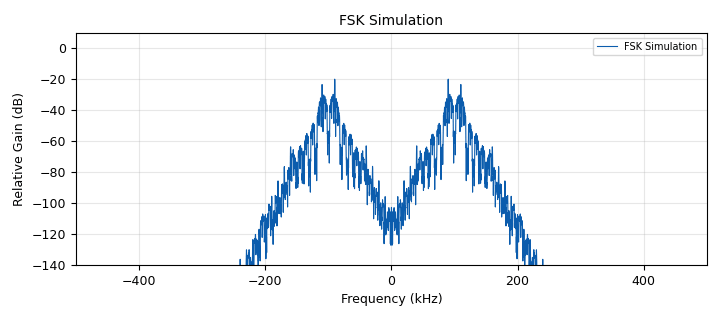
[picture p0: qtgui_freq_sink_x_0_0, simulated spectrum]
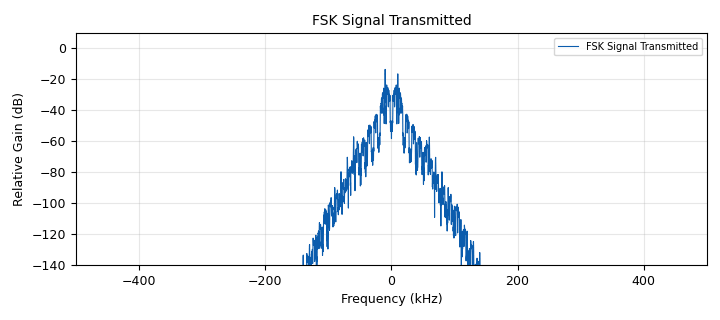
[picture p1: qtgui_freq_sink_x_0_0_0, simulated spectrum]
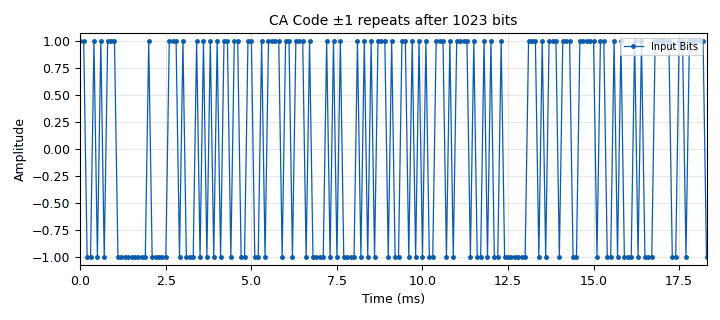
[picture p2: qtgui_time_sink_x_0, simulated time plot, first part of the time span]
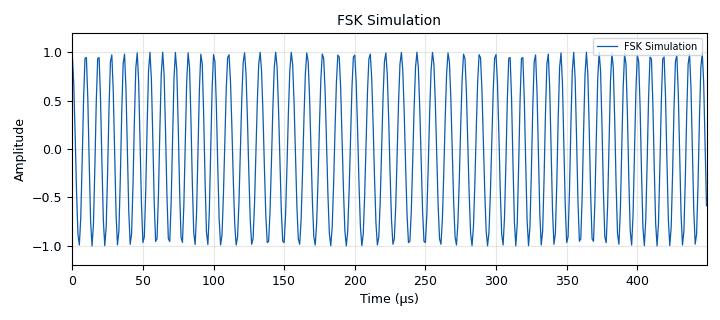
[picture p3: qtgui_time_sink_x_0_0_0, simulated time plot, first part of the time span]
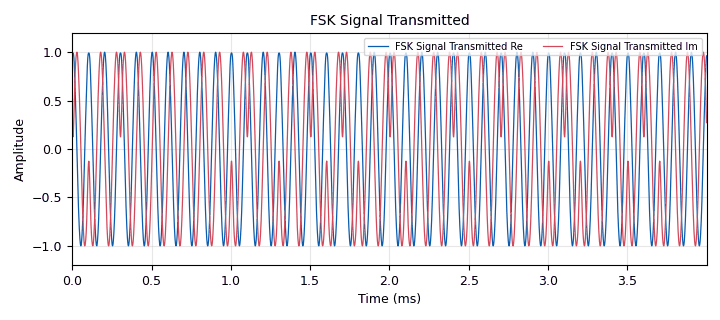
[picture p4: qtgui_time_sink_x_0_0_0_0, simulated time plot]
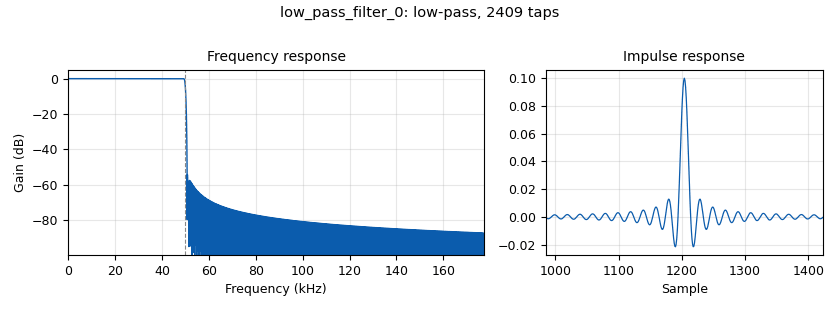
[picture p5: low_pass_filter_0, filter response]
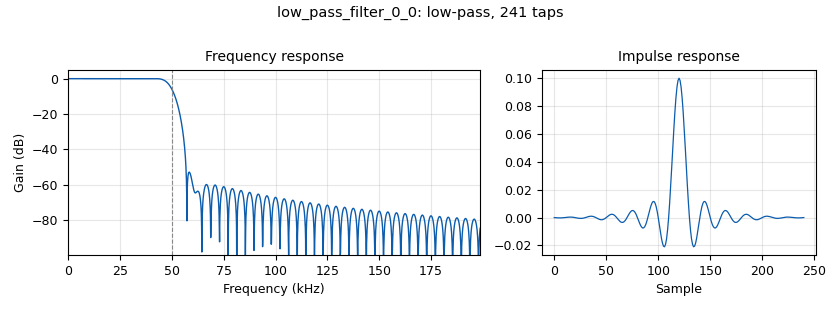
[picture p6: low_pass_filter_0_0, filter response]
options:
  parameters:
    author: jason, allie
    generate_options: qt_gui
    id: lesson12_FSKhardware
    output_language: python
    title: lesson12_FSKhardware
  states: {}

blocks:
- name: cacode01
  id: variable
  parameters:
    value: '[1, 1, 0, 0, 1, 0, 0, 0, 0, 0, 1, 1, 1, 0, 0, 1, 0, 1, 0, 0, 1, 0, 0, 1, 1, 1, 1, 0, 0, 1, 0, 1, 0, 0, 0, 1, 0, 0, 1, 1, 1, 1, 1, 0, 1, 0, 1, 0, 1, 1, 0, 1, 0, 0, 0, 1, 0, 0, 0, 1, 0, 1, 0, 1, 0, 1, 0, 1, 1, 0, 0, 1, 0, 0, 0, 1, 1, 1, 1, 0, 1, 0, 0, 1, 1, 1, 1, 1, 1, 0, 1, 1, 0, 1, 1, 1, 0, 0, 1, 1, 0, 1, 1, 1, 1, 1, 0, 0, 1, 0, 1, 0, 1, 0, 1, 0, 0, 0, 0, 1, 0, 0, 0, 0, 0, 0, 0, 0, 1, 1, 1, 0, 1, 0, 1, 0, 0, 1, 0, 0, 0, 1, 0, 0, 1, 1, 0, 1, 1, 1, 1, 0, 0, 0, 0, 0, 1, 1, 1, 1, 0, 1, 0, 1, 1, 1, 0, 0, 1, 1, 0, 0, 1, 1, 1, 1, 0, 1, 1, 0, 0, 0, 0, 0, 0, 0, 1, 0, 1, 1, 1, 1, 0, 0, 1, 1, 1, 1, 1, 0, 1, 0, 1, 0, 0, 1, 1, 0, 0, 0, 1, 0, 1, 1, 0, 1, 1, 1, 0, 0, 0, 1, 1, 0, 1, 1, 1, 1, 0, 1, 0, 1, 0, 0, 0, 1, 0, 1, 0, 1, 1, 0, 0, 0, 0, 0, 1, 0, 0, 0, 0, 0, 0, 0, 0, 1, 0, 0, 0, 0, 0, 0, 1, 1, 0, 0, 0, 1, 1, 1, 0, 1, 1, 0, 0, 0, 0, 0, 0, 1, 1, 1, 0, 0, 0, 1, 1, 0, 1, 1, 1, 1, 1, 1, 1, 1, 1, 0, 1, 0, 0, 1, 1, 1, 0, 1, 0, 0, 1, 0, 1, 1, 0, 1, 1, 0, 0, 0, 0, 1, 0, 1, 0, 1, 0, 1, 1, 0, 0, 0, 1, 0, 0, 1, 1, 1, 0, 0, 1, 0, 1, 1, 0, 1, 1, 1, 0, 1, 1, 0, 0, 0, 1, 1, 1, 0, 1, 1, 1, 0, 1, 1, 1, 1, 0, 0, 0, 0, 1, 1, 0, 1, 1, 0, 0, 0, 0, 1, 1, 0, 0, 1, 0, 0, 1, 0, 0, 1, 0, 0, 0, 0, 0, 1, 1, 0, 1, 1, 0, 1, 0, 0, 1, 0, 1, 1, 0, 1, 1, 1, 1, 0, 0, 0, 1, 0, 1, 1, 1, 0, 0, 0, 0, 0, 0, 1, 0, 1, 0, 0, 1, 0, 0, 1, 1, 1, 1, 1, 1, 0, 0, 0, 0, 0, 1, 0, 1, 0, 1, 0, 1, 1, 1, 0, 0, 1, 1, 1, 1, 1, 0, 1, 0, 1, 1, 1, 1, 1, 0, 0, 1, 1, 0, 0, 1, 1, 0, 0, 0, 1, 1, 1, 0, 0, 0, 1, 1, 0, 1, 1, 0, 1, 0, 1, 0, 1, 0, 1, 1, 0, 1, 1, 0, 0, 0, 1, 1, 0, 1, 1, 1, 0, 1, 1, 1, 0, 0, 0, 0, 0, 0, 0, 0, 0, 0, 0, 1, 0, 1, 1, 0, 0, 1, 1, 0, 1, 1, 0, 0, 1, 1, 1, 0, 1, 1, 0, 1, 0, 0, 0, 0, 0, 1, 0, 1, 0, 1, 0, 1, 1, 1, 0, 1, 0, 1, 1, 1, 0, 1, 0, 0, 1, 0, 1, 0, 0, 0, 1, 1, 1, 0, 0, 1, 1, 1, 0, 0, 0, 1, 0, 0, 1, 0, 1, 0, 0, 0, 1, 0, 1, 0, 0, 1, 0, 1, 1, 0, 1, 0, 0, 0, 0, 1, 0, 1, 0, 1, 1, 0, 1, 1, 0, 1, 0, 1, 1, 0, 1, 1, 0, 0, 0, 1, 1, 1, 0, 0, 1, 1, 1, 1, 0, 1, 1, 0, 0, 1, 0, 0, 0, 0, 1, 1, 1, 1, 1, 1, 0, 0, 1, 0, 1, 1, 0, 1, 0, 0, 0, 1, 0, 0, 0, 0, 1, 1, 1, 1, 1, 0, 1, 0, 1, 0, 1, 1, 1, 0, 0, 1, 1, 0, 0, 1, 0, 0, 1, 0, 0, 1, 0, 0, 1, 0, 1, 1, 1, 1, 1, 1, 1, 1, 1, 1, 0, 0, 0, 0, 1, 1, 1, 1, 1, 0, 1, 1, 1, 1, 0, 0, 0, 1, 1, 0, 1, 1, 1, 0, 0, 1, 0, 1, 1, 0, 0, 0, 0, 1, 1, 1, 0, 0, 1, 0, 1, 0, 1, 0, 0, 0, 0, 1, 0, 1, 0, 0, 1, 0, 1, 0, 1, 1, 1, 1, 1, 1, 0, 0, 0, 1, 1, 1, 1, 0, 1, 1, 0, 1, 0, 0, 1, 1, 1, 0, 1, 1, 0, 0, 1, 1, 1, 1, 1, 1, 0, 1, 1, 1, 1, 1, 0, 1, 0, 0, 0, 1, 1, 0, 0, 0, 1, 1, 1, 1, 1, 0, 0, 0, 0, 0, 0, 0, 1, 0, 0, 1, 0, 1, 0, 0, 0, 1, 0, 1, 1, 0, 1, 0, 0, 0, 1, 0, 0, 0, 1, 0, 0, 1, 1, 0, 1, 1, 0, 0, 0, 0, 0, 0, 1, 1, 1, 0, 1, 1, 0, 1, 0, 0, 0, 1, 1, 0, 1, 0, 0, 0, 1, 0, 0, 1, 0, 0, 0, 1, 1, 1, 0, 0, 0, 1, 0, 1, 1, 0, 0, 1, 1, 0, 0, 1, 0, 0, 1, 1, 1, 1, 0, 0, 1, 1, 0, 1, 1, 1, 1, 1, 1, 0, 0, 1, 1, 0, 0, 1, 0, 1, 0, 0, 1, 1, 0, 1, 0, 0, 1, 1, 0, 1, 0, 1, 1, 1, 1, 0, 0, 1, 1, 0, 1, 1, 0, 1, 0, 1, 0, 0, 1, 1, 1, 0, 1, 1, 1, 1, 0, 0, 0, 1, 1, 0, 1, 0, 1, 0, 0, 0, 1, 0, 0, 0, 0, 1, 0, 0, 0, 1, 0, 0, 1, 0, 0, 1, 1, 1, 0, 0, 0, 0, 1, 1, 1, 0, 0, 1, 0, 1, 0, 0, 0, 1, 0, 0, 0, 0]'
  states: {}
- name: default_LO_freq
  id: variable
  parameters:
    value: 916e6
  states: {}
- name: fsk_deviation_hz
  id: variable_qtgui_range
  parameters:
    gui_hint: 4,0
    orient: Qt.Horizontal
    start: '0'
    step: '1'
    stop: 10e4
    value: 10e3
  states: {}
- name: input_bits_LPF_cutoff_kHz
  id: variable_qtgui_range
  parameters:
    gui_hint: (1,0)
    orient: Qt.Horizontal
    start: '0'
    step: '1'
    stop: '100'
    value: '50'
  states: {}
- name: plot_N_bits
  id: variable
  parameters:
    value: '40'
  states: {}
- name: pluto_LO_freq
  id: variable_qtgui_range
  parameters:
    gui_hint: 6,0
    orient: Qt.Horizontal
    start: default_LO_freq-1e6
    step: 1e4
    stop: default_LO_freq+1e6
    value: default_LO_freq
  states: {}
- name: rtl_LO_freq
  id: variable_qtgui_range
  parameters:
    gui_hint: 11,0
    orient: Qt.Horizontal
    start: default_LO_freq-1e6
    step: 1e4
    stop: default_LO_freq+1e6
    value: default_LO_freq
  states: {}
- name: samp_rate
  id: variable
  parameters:
    value: 1e6
  states: {}
- name: samples_per_bit
  id: variable
  parameters:
    value: '100'
  states: {}
- name: transmit_center_freq_kHz
  id: variable_qtgui_range
  parameters:
    gui_hint: 5,0
    orient: Qt.Horizontal
    start: '0'
    step: '.1'
    stop: '200'
    value: '100'
  states: {}
- name: tuning_LPF_cutoff_kHz
  id: variable_qtgui_range
  parameters:
    gui_hint: 13,0
    orient: Qt.Horizontal
    start: '0'
    step: '1'
    stop: '200'
    value: '50'
  states: {}
- name: tuning_freq_kHz
  id: variable_qtgui_range
  parameters:
    gui_hint: 12,0
    orient: Qt.Horizontal
    start: '-20'
    step: '.01'
    stop: '20'
    value: '0'
  states: {}
- name: analog_quadrature_demod_cf_0
  id: analog_quadrature_demod_cf
  parameters:
    comment: |-
      = samp_rate/(2*math.pi*fsk_deviation_hz)
      estimate instantaneous frequency,
      initially in rad/sample, so the "gain"
      first multiplies by samples/sec
      then divides by 2*pi to get it in Hz,
      then by fsk_deviation_hz
      to get it to match ±1 input
    gain: samp_rate/(2*math.pi*fsk_deviation_hz)
  states: {}
- name: analog_random_uniform_source_x_0
  id: analog_random_uniform_source_x
  parameters:
    comment: |-
      random source
      that does not repeat.
      A repeating source
      can put strange features
      in the spectrum.
    maximum: '2'
    minimum: '0'
    seed: '0'
    type: byte
  states: {}
- name: analog_sig_source_x_0
  id: analog_sig_source_x
  parameters:
    amp: '1'
    comment: tuning_freq_kHz*1e3
    freq: tuning_freq_kHz*1e3
    offset: '0'
    phase: '0'
    samp_rate: samp_rate
    type: complex
    waveform: analog.GR_COS_WAVE
  states: {}
- name: blocks_add_const_vxx_0_0
  id: blocks_add_const_vxx
  parameters:
    comment: |-
      Transmit center frequency
      will be 100kHz, so these samples
      are each around 90k or 110k.
    const: transmit_center_freq_kHz*1000
    type: float
  states: {}
- name: blocks_char_to_float_0
  id: blocks_char_to_float
  parameters:
    scale: '1'
  states: {}
- name: blocks_multiply_const_vxx_0_0
  id: blocks_multiply_const_vxx
  parameters:
    comment: |-
      -1 will be -10kHz (below)
      +1 will be +10kHz (above)
    const: fsk_deviation_hz
    type: float
  states: {}
- name: blocks_multiply_xx_0
  id: blocks_multiply_xx
  parameters:
    type: complex
  states: {}
- name: blocks_repeat_0
  id: blocks_repeat
  parameters:
    comment: |-
      pseudorandom square wave
      bits at 10kHz, sampled at 1MHz
    interp: samples_per_bit
    type: float
  states: {}
- name: blocks_uchar_to_float_0
  id: blocks_uchar_to_float
  parameters: {}
  states: {}
- name: blocks_vco_c_0
  id: blocks_vco_c
  parameters:
    amplitude: '1'
    comment: |-
      Here we put the scaling
      to rad/sec here in the sensitivity as
      2*math.pi*fsk_deviation_hz
    samp_rate: samp_rate
    sensitivity: 2*math.pi*fsk_deviation_hz
  states: {}
- name: blocks_vco_f_0
  id: blocks_vco_f
  parameters:
    amplitude: '1'
    comment: |-
      Turn frequency in into
      sine at that frequency.
      The sensitivity of VCO
      is in radians/sec, so 2pi
      here means that
      -1 becomes 90kHz
      +1 becomes 110kHz
    samp_rate: samp_rate
    sensitivity: 2*math.pi
  states: {}
- name: blocks_vector_source_x_0
  id: blocks_vector_source_x
  parameters:
    comment: |-
      pseudorandom bits
      at 10kHz
    repeat: 'True'
    type: byte
    vector: cacode01
  states: {state: disabled}
- name: digital_binary_slicer_fb_0
  id: digital_binary_slicer_fb
  parameters: {}
  states: {}
- name: digital_map_bb_0
  id: digital_map_bb
  parameters:
    map: '[+1,-1]'
  states: {}
- name: iio_pluto_sink_0
  id: iio_pluto_sink
  parameters:
    attenuation1: '10.0'
    auto_filter: 'True'
    bandwidth: int(samp_rate)
    buffer_size: '32768'
    cyclic: 'False'
    frequency: int(pluto_LO_freq)
    samplerate: int(samp_rate)
    uri: 192.168.2.1
  states: {}
- name: low_pass_filter_0
  id: low_pass_filter
  parameters:
    comment: |-
      input_bits_LPF_cutoff_kHz*1000
      smooth out square wave
      makes FSK signal take up
      less bandwidth
    cutoff_freq: input_bits_LPF_cutoff_kHz*1000
    decim: '1'
    gain: '1'
    interp: '100'
    samp_rate: samp_rate
    type: fir_filter_fff
    width: samp_rate/1000
    win: firdes.WIN_HAMMING
  states: {}
- name: low_pass_filter_0_0
  id: low_pass_filter
  parameters:
    comment: |-
      filter to only pass
      information around 0Hz
    cutoff_freq: tuning_LPF_cutoff_kHz*1000
    decim: '1'
    gain: '1'
    interp: '100'
    samp_rate: samp_rate
    type: fir_filter_ccf
    width: samp_rate/100
    win: firdes.WIN_HAMMING
  states: {}
- name: qtgui_freq_sink_x_0
  id: qtgui_freq_sink_x
  parameters:
    average: '0.2'
    bw: samp_rate
    fc: '0'
    fftsize: 2**12
    gui_hint: 15,0
    label1: '"low passed rtl-sdr"'
    name: '"low passed rtl-sdr"'
    type: complex
    wintype: firdes.WIN_BLACKMAN_hARRIS
  states: {}
- name: qtgui_freq_sink_x_0_0
  id: qtgui_freq_sink_x
  parameters:
    bw: samp_rate
    fc: '0'
    fftsize: 2**12
    gui_hint: 8,0
    label1: '"FSK Simulation"'
    name: '"FSK Simulation"'
    type: float
    wintype: firdes.WIN_BLACKMAN_hARRIS
  states: {}
- name: qtgui_freq_sink_x_0_0_0
  id: qtgui_freq_sink_x
  parameters:
    bw: samp_rate
    fc: '0'
    fftsize: 2**12
    gui_hint: 10,0
    label1: '"FSK Signal Transmitted"'
    name: '"FSK Signal Transmitted"'
    type: complex
    wintype: firdes.WIN_BLACKMAN_hARRIS
  states: {}
- name: qtgui_freq_sink_x_1
  id: qtgui_freq_sink_x
  parameters:
    bw: samp_rate
    fc: '0'
    fftsize: 2**12
    gui_hint: 3,0
    label1: '"Stretched and LPF Input Bits"'
    name: '"Stretched and LPF Input Bits"'
    type: float
    wintype: firdes.WIN_BLACKMAN_hARRIS
  states: {state: disabled}
- name: qtgui_freq_sink_x_2
  id: qtgui_freq_sink_x
  parameters:
    bw: samp_rate
    fc: '0'
    fftsize: '1024'
    type: complex
    wintype: firdes.WIN_BLACKMAN_hARRIS
  states: {state: disabled}
- name: qtgui_sink_x_0
  id: qtgui_sink_x
  parameters:
    bw: samp_rate
    fc: '0'
    fftsize: '1024'
    gui_hint: 14,0
    name: '"Received raw"'
    type: complex
    wintype: firdes.WIN_BLACKMAN_hARRIS
  states: {state: disabled}
- name: qtgui_sink_x_1
  id: qtgui_sink_x
  parameters:
    bw: samp_rate
    fc: '0'
    fftsize: '1024'
    gui_hint: 17,0
    name: '"low passed and demodded rtl-sdr"'
    type: float
    wintype: firdes.WIN_BLACKMAN_hARRIS
  states: {state: disabled}
- name: qtgui_time_sink_x_0
  id: qtgui_time_sink_x
  parameters:
    gui_hint: (0,0)
    label1: Input Bits
    marker1: '0'
    name: '"CA Code ±1 repeats after 1023 bits"'
    size: '1023'
    srate: samp_rate/samples_per_bit
    type: float
  states: {}
- name: qtgui_time_sink_x_0_0
  id: qtgui_time_sink_x
  parameters:
    gui_hint: (2,0)
    label1: Stretched and LPF Input Bits
    name: '"Stretched and LPF Input Bits"'
    size: samples_per_bit*plot_N_bits
    srate: samp_rate
    type: float
    ymax: '1.2'
    ymin: '-1.2'
  states: {state: disabled}
- name: qtgui_time_sink_x_0_0_0
  id: qtgui_time_sink_x
  parameters:
    gui_hint: 7,0
    label1: '"FSK Simulation"'
    name: '"FSK Simulation"'
    size: samples_per_bit*plot_N_bits
    srate: samp_rate
    type: float
    ymax: '1.2'
    ymin: '-1.2'
  states: {}
- name: qtgui_time_sink_x_0_0_0_0
  id: qtgui_time_sink_x
  parameters:
    gui_hint: 9,0
    label1: '"FSK Signal Transmitted Re"'
    label2: '"FSK Signal Transmitted Im"'
    name: '"FSK Signal Transmitted"'
    size: samples_per_bit*plot_N_bits
    srate: samp_rate
    type: complex
    ymax: '1.2'
    ymin: '-1.2'
  states: {}
- name: qtgui_time_sink_x_1
  id: qtgui_time_sink_x
  parameters:
    gui_hint: 16,0
    label1: '"Quad Demodded"'
    name: '"Quad Demodded"'
    size: samples_per_bit*plot_N_bits
    srate: samp_rate
    type: float
    ymax: '2'
    ymin: '-2'
  states: {}
- name: qtgui_time_sink_x_1_0
  id: qtgui_time_sink_x
  parameters:
    gui_hint: 18,0
    label1: '"Sliced"'
    name: '"Sliced"'
    size: samples_per_bit*plot_N_bits
    srate: samp_rate
    type: float
    ymax: '2'
    ymin: '-2'
  states: {}
- name: qtgui_time_sink_x_2
  id: qtgui_time_sink_x
  parameters:
    gui_hint: 14,0
    size: '1024'
    srate: samp_rate
    type: complex
  states: {}
- name: rtlsdr_source_0
  id: rtlsdr_source
  parameters:
    bb_gain0: '20'
    freq0: rtl_LO_freq
    gain0: '10'
    gain_mode0: 'False'
    if_gain0: '20'
    sample_rate: samp_rate
    sync: sync
    type: fc32
  states: {}

connections:
- [analog_quadrature_demod_cf_0, '0', digital_binary_slicer_fb_0, '0']
- [analog_quadrature_demod_cf_0, '0', qtgui_sink_x_1, '0']
- [analog_quadrature_demod_cf_0, '0', qtgui_time_sink_x_1, '0']
- [analog_random_uniform_source_x_0, '0', digital_map_bb_0, '0']
- [analog_sig_source_x_0, '0', blocks_multiply_xx_0, '1']
- [blocks_add_const_vxx_0_0, '0', blocks_vco_f_0, '0']
- [blocks_char_to_float_0, '0', blocks_repeat_0, '0']
- [blocks_char_to_float_0, '0', qtgui_time_sink_x_0, '0']
- [blocks_multiply_const_vxx_0_0, '0', blocks_add_const_vxx_0_0, '0']
- [blocks_multiply_xx_0, '0', low_pass_filter_0_0, '0']
- [blocks_repeat_0, '0', low_pass_filter_0, '0']
- [blocks_uchar_to_float_0, '0', qtgui_time_sink_x_1_0, '0']
- [blocks_vco_c_0, '0', iio_pluto_sink_0, '0']
- [blocks_vco_c_0, '0', qtgui_freq_sink_x_0_0_0, '0']
- [blocks_vco_c_0, '0', qtgui_time_sink_x_0_0_0_0, '0']
- [blocks_vco_f_0, '0', qtgui_freq_sink_x_0_0, '0']
- [blocks_vco_f_0, '0', qtgui_time_sink_x_0_0_0, '0']
- [blocks_vector_source_x_0, '0', digital_map_bb_0, '0']
- [digital_binary_slicer_fb_0, '0', blocks_uchar_to_float_0, '0']
- [digital_map_bb_0, '0', blocks_char_to_float_0, '0']
- [low_pass_filter_0, '0', blocks_multiply_const_vxx_0_0, '0']
- [low_pass_filter_0, '0', blocks_vco_c_0, '0']
- [low_pass_filter_0, '0', qtgui_freq_sink_x_1, '0']
- [low_pass_filter_0, '0', qtgui_time_sink_x_0_0, '0']
- [low_pass_filter_0_0, '0', analog_quadrature_demod_cf_0, '0']
- [low_pass_filter_0_0, '0', qtgui_freq_sink_x_0, '0']
- [rtlsdr_source_0, '0', blocks_multiply_xx_0, '0']
- [rtlsdr_source_0, '0', qtgui_sink_x_0, '0']
- [rtlsdr_source_0, '0', qtgui_time_sink_x_2, '0']

metadata:
  file_format: 1
